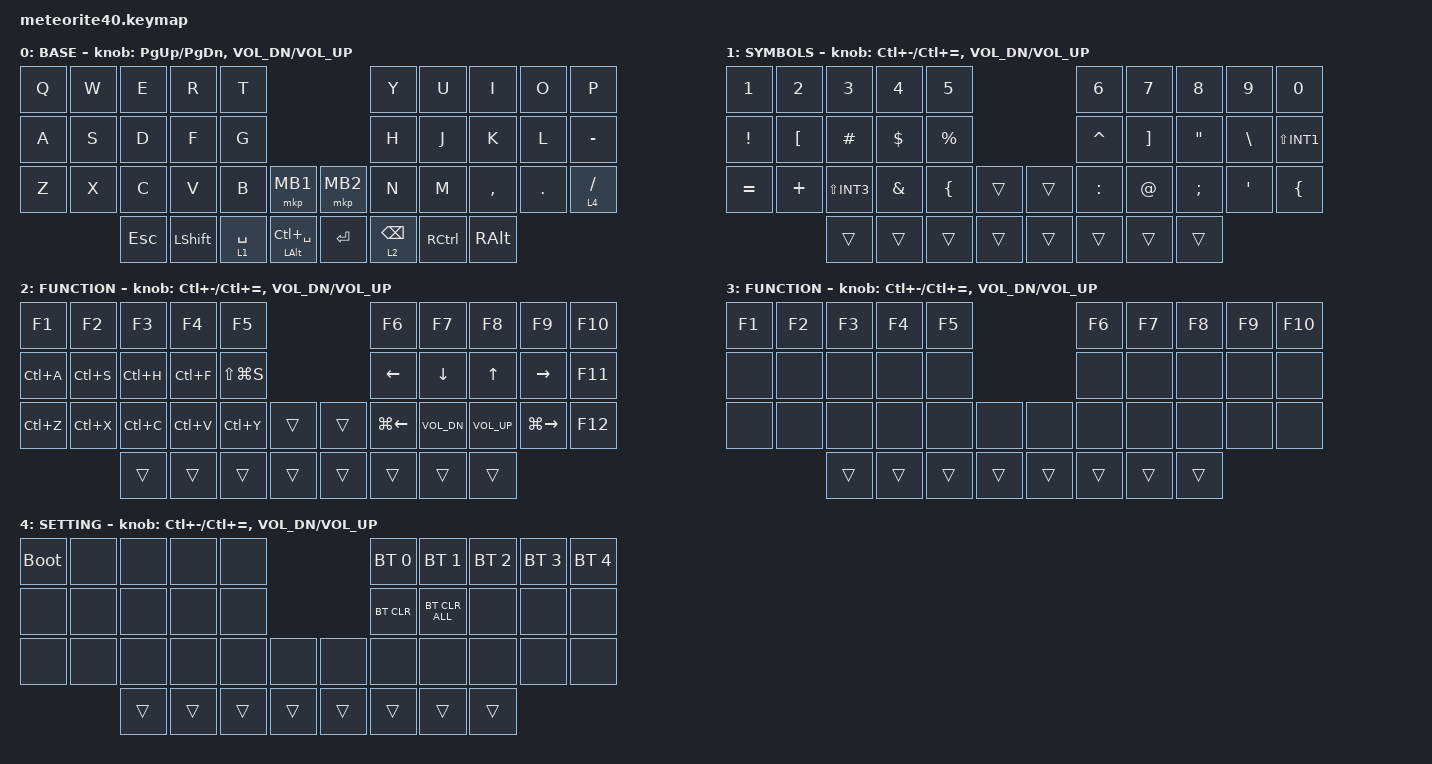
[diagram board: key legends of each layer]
#include <behaviors.dtsi>
#include <dt-bindings/zmk/bt.h>
#include <dt-bindings/zmk/keys.h>
#include <dt-bindings/zmk/pointing.h>

&mt {
    flavor = "tap-preferred"; // change hold to tap
    tapping-term-ms = <200>;
    quick-tap-ms = <150>; // change 200 to 150
};

&lt {
    flavor = "tap-preferred";
    tapping-term-ms = <150>; // change 200 to 150
    quick-tap-ms = <150>; // change 200 to 150
};

/ {
    combos {
        compatible = "zmk,combos";

        esc {
            bindings = <&kp ESCAPE>;
            key-positions = <20 21>; /* Z + X */
            layers = <0>;
        };

        tab {
            bindings = <&kp TAB>;
            key-positions = <11 10>; /* Q + W */
            layers = <0>;
        };

        delete {
            bindings = <&kp DELETE>;
            key-positions = <8 9>;
        };

        right_control {
            bindings = <&kp RIGHT_CONTROL>;
            key-positions = <18 19>;
        };
    };

    keymap {
        compatible = "zmk,keymap";
        layout = &LAYOUT_2U_SPACE;

        win_default_layer {
            display-name = "BASE";
            bindings = <
&kp Q       &kp W           &kp E        &kp R                   &kp T                                           &kp Y            &kp U              &kp I      &kp O    &kp P
&kp A       &kp S           &kp D        &kp F                   &kp G                                           &kp H            &kp J              &kp K      &kp L    &kp MINUS
&kp Z       &kp X           &kp C        &kp V                   &kp B        &mkp MB1                &mkp MB2   &kp N            &kp M              &kp COMMA  &kp DOT  &lt 4 SLASH
                            &kp ESCAPE   &kp LEFT_SHIFT          &lt 1 SPACE  &mt LEFT_ALT LC(SPACE)  &kp ENTER  &lt 2 BACKSPACE  &kp RIGHT_CONTROL  &kp RALT
            >;

            sensor-bindings =
                <&inc_dec_kp PAGE_UP PAGE_DOWN>,
                <&inc_dec_kp C_VOL_DN C_VOL_UP>;

            // RE1: volume down/up
        };

        layer_1 {
            display-name = "SYMBOLS";
            bindings = <
&kp N1     &kp N2    &kp N3        &kp N4    &kp N5                     &kp N6     &kp N7    &kp N8    &kp N9    &kp N0
&kp EXCL   &kp LBKT  &kp HASH      &kp DLLR  &kp PRCNT                  &kp CARET  &kp RBKT  &kp DQT   &kp BSLH  &kp LS(INT1)
&kp EQUAL  &kp PLUS  &kp LS(INT3)  &kp AMPS  &kp LBRC   &trans  &trans  &kp COLON  &kp AT    &kp SEMI  &kp SQT   &kp LBRC
                     &trans        &trans    &trans     &trans  &trans  &trans     &trans    &trans
            >;

            sensor-bindings =
                <&inc_dec_kp LC(MINUS) LC(EQUAL)>,
                // RE0: ctrl + - / +,,,,,,,
                <&inc_dec_kp C_VOL_DN C_VOL_UP>;

            // RE1: volume down/up
        };

        layer_2 {
            display-name = "FUNCTION";
            bindings = <
&kp F1     &kp F2     &kp F3     &kp F4     &kp F5                         &kp F6        &kp F7        &kp F8        &kp F9         &kp F10
&kp LC(A)  &kp LC(S)  &kp LC(H)  &kp LC(F)  &kp LS(LG(S))                  &kp LEFT      &kp DOWN      &kp UP        &kp RIGHT      &kp F11
&kp LC(Z)  &kp LC(X)  &kp LC(C)  &kp LC(V)  &kp LC(Y)      &trans  &trans  &kp LG(LEFT)  &kp C_VOL_DN  &kp C_VOL_UP  &kp LG(RIGHT)  &kp F12
                      &trans     &trans     &trans         &trans  &trans  &trans        &trans        &trans
            >;

            sensor-bindings =
                <&inc_dec_kp LC(MINUS) LC(EQUAL)>,
                // RE0: ctrl + - / +,,,,,,,
                <&inc_dec_kp C_VOL_DN C_VOL_UP>;

            // RE1: volume down/up
        };

        layer_3 {
            display-name = "FUNCTION";
            bindings = <
&kp F1  &kp F2  &kp F3  &kp F4  &kp F5  &kp F6  &kp F7  &kp F8  &kp F9  &kp F10
&none   &none   &none   &none   &none   &none   &none   &none   &none   &none
&none   &none   &none   &none   &none   &none   &none   &none   &none   &none    &none  &none
&trans  &trans  &trans  &trans  &trans  &trans  &trans  &trans
            >;

            sensor-bindings =
                <&inc_dec_kp LC(MINUS) LC(EQUAL)>,
                // RE0: ctrl + - / +,,,,,,,
                <&inc_dec_kp C_VOL_DN C_VOL_UP>;

            // RE1: volume down/up
        };

        layer_4 {
            display-name = "SETTING";
            bindings = <
&bootloader  &none   &none   &none   &none   &bt BT_SEL 0  &bt BT_SEL 1    &bt BT_SEL 2  &bt BT_SEL 3  &bt BT_SEL 4
&none        &none   &none   &none   &none   &bt BT_CLR    &bt BT_CLR_ALL  &none         &none         &none
&none        &none   &none   &none   &none   &none         &none           &none         &none         &none         &none  &none
&trans       &trans  &trans  &trans  &trans  &trans        &trans          &trans
            >;

            sensor-bindings =
                <&inc_dec_kp LC(MINUS) LC(EQUAL)>,
                // RE0: ctrl + - / +,,,,,,,
                <&inc_dec_kp C_VOL_DN C_VOL_UP>;

            // RE1: volume down/up
        };
    };
};
